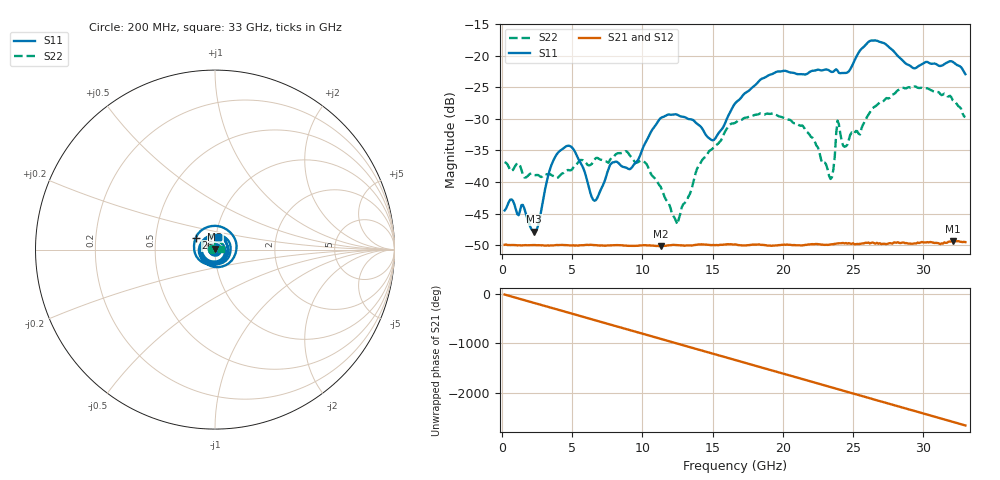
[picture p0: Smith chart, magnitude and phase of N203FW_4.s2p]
# GHZ S RI R 50
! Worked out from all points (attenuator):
!   329 points, 200 MHz to 33 GHz, reference 50 ohm
!   highest |S21| = -49.37 dB at 32.1 GHz (marker M1); lowest = -50.2 dB at 11.3 GHz (marker M2)
!   lowest |S11| = -47.9 dB at 2.3 GHz (marker M3), VSWR 1.01, Z = 50.2 + j0.368 ohm
!   |S11| at or under -10 dB: start of sweep to end of sweep
!   |S22| runs from -46.7 to -24.8 dB; largest |S21 - S12| = 8.8e-05
!   S11 on the Smith chart (normalised r, x): 200 MHz: 1.01, -0.00; 26 GHz: 0.80, +0.11; 33 GHz: 1.03, +0.14
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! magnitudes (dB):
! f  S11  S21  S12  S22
! 200 MHz  -44.5  -50.0  -49.9  -36.8
! 1.5 GHz  -43.6  -50.0  -50.0  -38.9
! 2.3 GHz  -47.9  -50.0  -50.0  -38.9
! 3.9 GHz  -35.6  -50.0  -50.0  -39.4
! 5.7 GHz  -37.3  -50.0  -50.0  -36.5
! 6.7 GHz  -42.9  -50.0  -50.0  -36.2
! 7.8 GHz  -37.1  -50.1  -50.0  -36.2
! 8.9 GHz  -37.8  -50.1  -50.1  -35.2
! 11.2 GHz  -30.1  -50.2  -50.1  -40.5
! 11.3 GHz  -29.9  -50.2  -50.1  -40.7
! 12.5 GHz  -29.3  -50.0  -50.0  -46.7
! 15 GHz  -33.4  -50.0  -50.0  -34.7
! 16.6 GHz  -27.5  -49.9  -49.9  -30.6
! 19.3 GHz  -22.8  -50.1  -50.1  -29.1
! 22.1 GHz  -22.4  -49.9  -49.8  -33.0
! 23.4 GHz  -22.5  -49.9  -49.9  -39.5
! 23.9 GHz  -22.3  -49.8  -49.8  -30.3
! 24.4 GHz  -22.7  -49.7  -49.6  -34.4
! 26 GHz  -18.0  -49.7  -49.6  -29.7
! 27.6 GHz  -18.7  -49.7  -49.7  -26.7
! 32.1 GHz  -20.9  -49.4  -49.3  -27.0
! 33 GHz  -22.9  -49.5  -49.6  -29.7
